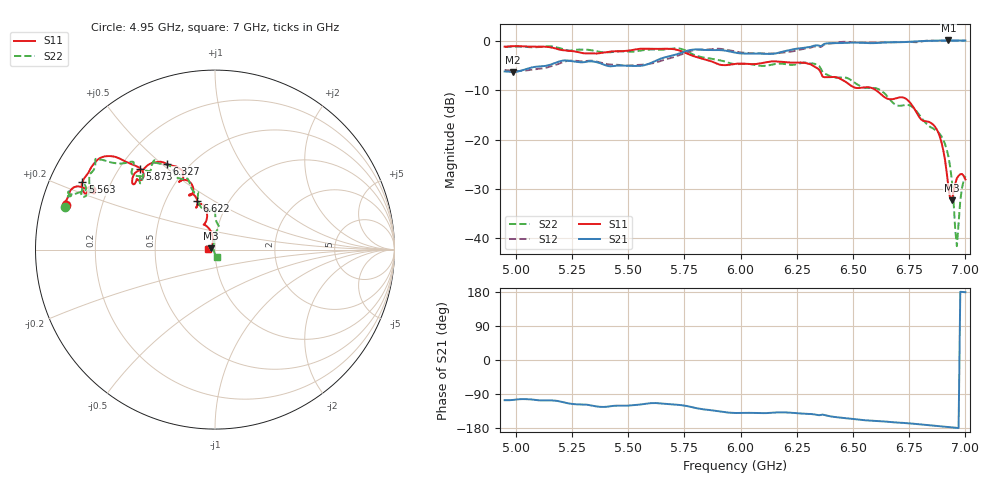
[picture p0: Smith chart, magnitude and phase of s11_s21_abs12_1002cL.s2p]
! MS46122B
! 1919307/90821646
! 5/18/2022 3:36:46 PM
! C:\USERS\PC_\DESKTOP\CARACTERIZACION\MEDICIONES\S11_S21_ABS12_1002CL.S2P
! CHANNEL.1
! TR.MEASUREMENT
! CORRECTED.DATA
# GHZ S RI R 50.0
! FREQ.GHZ  S11RE  S11IM  S21RE  S21IM  S12RE  S12IM  S22RE  S22IM
!; PortSelection: Port_12
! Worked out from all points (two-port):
!   272 points, 4.95 GHz to 7 GHz, reference 50 ohm
!   highest |S21| = 0.04 dB at 6.924 GHz (marker M1); lowest = -6.4 dB at 4.988 GHz (marker M2)
!   |S21| within 3 dB of the highest: 5.7 GHz to end of sweep
!   lowest |S11| = -32.3 dB at 6.939 GHz (marker M3), VSWR 1.05, Z = 47.7 + j0.753 ohm
!   |S11| at or under -10 dB: 6.601 GHz to end of sweep
!   |S22| runs from -41.6 to -1.1 dB; largest |S21 - S12| = 0.041
!   S11 on the Smith chart (normalised r, x): 4.95 GHz: 0.07, +0.15; 5.563 GHz: 0.10, +0.24; 5.873 GHz: 0.28, +0.41; 6.327 GHz: 0.38, +0.52; 6.622 GHz: 0.71, +0.43; 7 GHz: 0.92, +0.00
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4.95  -0.8328 0.2486  -0.1351 -0.469  -0.1489 -0.4826  -0.8364 0.2358
4.987823  -0.8391 0.2608  -0.1273 -0.4635  -0.1423 -0.474  -0.8204 0.2855
5.29797  -0.6669 0.3371  -0.2769 -0.5367  -0.2639 -0.5585  -0.7374 0.3408
5.562731  -0.7387 0.375  -0.2514 -0.4991  -0.2718 -0.5015  -0.7008 0.3829
5.638376  -0.7029 0.4321  -0.2663 -0.593  -0.2573 -0.5602  -0.679 0.4394
5.766974  -0.5293 0.5065  -0.4235 -0.6739  -0.4024 -0.6597  -0.594 0.4905
5.872878  -0.4165 0.4512  -0.5462 -0.5878  -0.5316 -0.6261  -0.4545 0.47
5.978782  -0.4333 0.3912  -0.5766 -0.486  -0.5887 -0.5027  -0.4056 0.4121
6.137638  -0.4524 0.4178  -0.5574 -0.4791  -0.5733 -0.4694  -0.4022 0.4054
6.319188  -0.2851 0.485  -0.7001 -0.5318  -0.6828 -0.5244  -0.3347 0.4843
6.326753  -0.2702 0.4786  -0.7146 -0.5299  -0.6961 -0.5216  -0.3287 0.4832
6.417528  -0.1864 0.3868  -0.82 -0.4669  -0.8036 -0.4974  -0.1659 0.3909
6.621771  -0.0989 0.2728  -0.9021 -0.3045  -0.9151 -0.2922  -0.096 0.3012
6.659594  -0.1031 0.2346  -0.92 -0.2759  -0.9266 -0.2639  -0.085 0.2477
6.73524  -0.0658 0.2501  -0.9428 -0.2251  -0.947 -0.2183  -0.012 0.2235
6.871402  -0.038 0.1223  -0.9953 -0.105  -0.9888 -0.0985  0.0206 0.121
6.901661  -0.014 0.0765  -1 -0.0745  -0.9911 -0.0719  0.00578 0.0995
6.924354  -0.0137 0.0307  -1.003 -0.0507  -0.9942 -0.0548  -0.00486 0.0675
6.939483  -0.0231 0.00788  -1.003 -0.0352  -0.9987 -0.0396  -0.00699 0.0387
6.962177  -0.0404 -0.00406  -1.002 -0.0141  -0.9968 -0.018  -0.00785 -0.00285
6.977306  -0.0445 -0.00262  -1.003 0.000258  -0.9981 -0.00547  -0.000934 -0.0242
7  -0.0394 0.00262  -1.002 0.0199  -1.003 0.0105  0.00942 -0.0415
